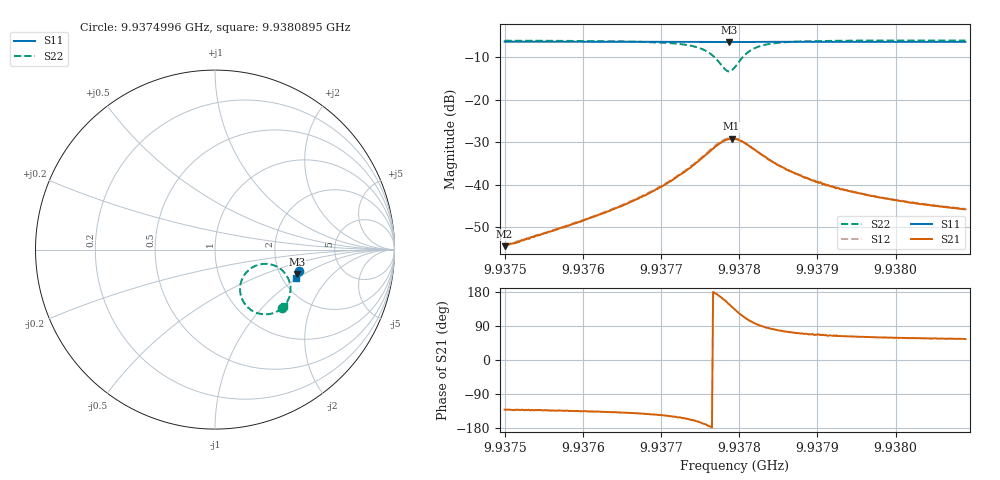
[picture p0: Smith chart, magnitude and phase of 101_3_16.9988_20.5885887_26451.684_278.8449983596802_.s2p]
#  HZ  S  RI  R  50.00
! Rohde & Schwarz Vector Network Analyzer
! Rohde-Schwarz,ZNB20-2Port,1311601062101988,3.16
! Created: UTC 3/20/2024, 10:56:39 PM
! freq[Hz]  re:S11  im:S11  re:S21  im:S21  re:S12  im:S12  re:S22  im:S22
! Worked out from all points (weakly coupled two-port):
!   401 points, 9.9374996 GHz to 9.9380895 GHz, reference 50 ohm
!   highest |S21| = -29.12 dB at 9.9377901 GHz (marker M1); lowest = -54.4 dB at 9.9374996 GHz (marker M2)
!   lowest |S11| = -6.4 dB at 9.9377872 GHz (marker M3), VSWR 2.83, Z = 123 - j43.5 ohm
!   |S11| at or under -10 dB: nowhere
!   |S22| runs from -13.3 to -6.0 dB; largest |S21 - S12| = 0.0018
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9.93749963e9  0.4674 -0.1192  -0.00125 -0.00144  -0.00131 -0.00145  0.3735 -0.3257
9.93759843e9  0.4652 -0.126  -0.00266 -0.00265  -0.00276 -0.00266  0.3563 -0.3387
9.93765151e9  0.4639 -0.1297  -0.00433 -0.00379  -0.00449 -0.00379  0.3385 -0.3482
9.93769722e9  0.4625 -0.1331  -0.00754 -0.00528  -0.00782 -0.00528  0.3085 -0.3579
9.93773114e9  0.461 -0.1353  -0.0131 -0.00633  -0.0136 -0.00608  0.2604 -0.3595
9.93775178e9  0.4598 -0.1367  -0.0199 -0.0048  -0.0207 -0.00455  0.2062 -0.3399
9.93776358e9  0.4587 -0.1372  -0.0252 -0.00156  -0.0262 -0.000801  0.1664 -0.3028
9.9377739e9  0.4578 -0.1372  -0.0297 0.00541  -0.0305 0.00657  0.1409 -0.2406
9.93778275e9  0.4573 -0.1367  -0.0306 0.0143  -0.0308 0.0159  0.1498 -0.167
9.93778717e9  0.4572 -0.1364  -0.0291 0.0191  -0.0288 0.0209  0.1707 -0.1316
9.93779012e9  0.4575 -0.1363  -0.0272 0.022  -0.0266 0.0235  0.1905 -0.1119
9.93779454e9  0.4576 -0.1361  -0.0236 0.0255  -0.0228 0.027  0.2255 -0.0905
9.93780192e9  0.4583 -0.1359  -0.0164 0.0287  -0.0153 0.0295  0.2875 -0.0796
9.93780929e9  0.4589 -0.1362  -0.00969 0.0286  -0.00863 0.0291  0.3389 -0.0923
9.93781666e9  0.4593 -0.1369  -0.00454 0.0266  -0.00383 0.0268  0.3742 -0.1153
9.93782551e9  0.4596 -0.1377  -0.000873 0.0238  -4.01e-06 0.0239  0.3993 -0.1451
9.93784468e9  0.4597 -0.1396  0.00287 0.0179  0.00345 0.0181  0.4191 -0.1962
9.93786237e9  0.4595 -0.1411  0.00413 0.0144  0.00437 0.0143  0.4209 -0.2268
9.93789334e9  0.4588 -0.1436  0.00408 0.0105  0.00454 0.0104  0.416 -0.2587
9.93793168e9  0.4579 -0.1465  0.00401 0.00791  0.00421 0.0079  0.4081 -0.2802
9.93799213e9  0.4564 -0.1505  0.0035 0.00582  0.00365 0.00581  0.3982 -0.2985
9.93808945e9  0.4538 -0.1569  0.00294 0.00424  0.00306 0.00427  0.3865 -0.3147
